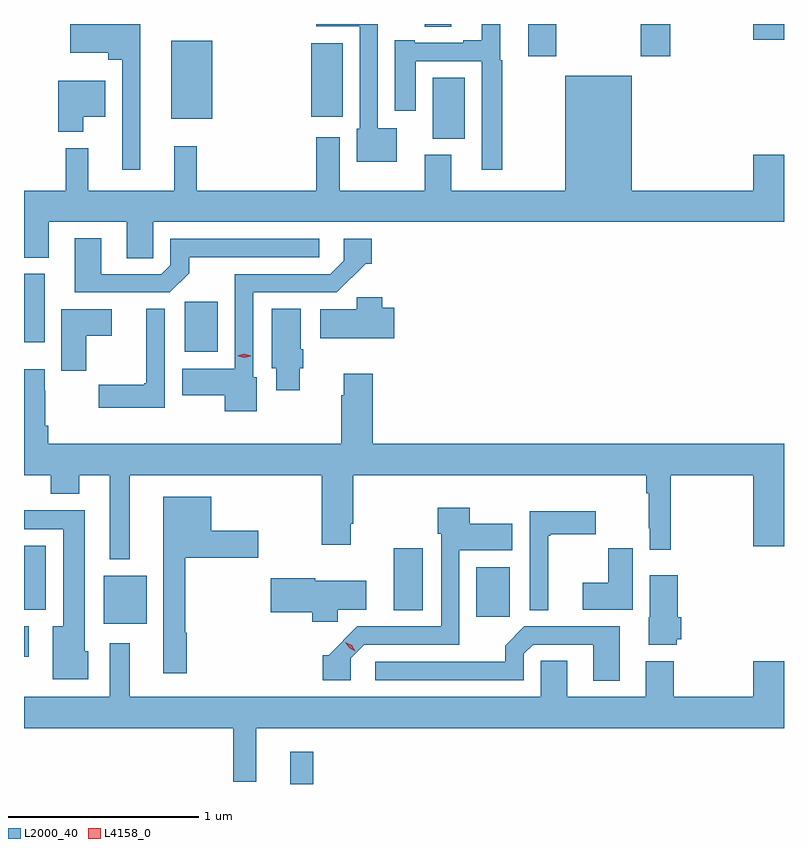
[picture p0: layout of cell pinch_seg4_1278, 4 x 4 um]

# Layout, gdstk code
import gdstk
lib = gdstk.Library(unit=1e-6, precision=1e-09)
def R(c, l, rs):  # rectangles x0, y0, x1, y1
    for r in rs: c.add(gdstk.rectangle(r[:2], r[2:], *l))
def P(c, l, *ps):  # polygons
    for p in ps: c.add(gdstk.Polygon(p, *l))
L2000_40 = (2000, 40)
L4158_0 = (4158, 0)

pinch_seg4_1278 = lib.new_cell('pinch_seg4_1278')
R(pinch_seg4_1278, L2000_40, [(366.365,773.882,366.487,774.052), (364.965,774.552,364.99,774.711), (365.384,774.725,365.611,774.979), (367.346,774.761,367.522,775.024), (366.911,774.796,367.063,775.123), (364.965,774.8,365.08,775.135), (365.81,776.156,365.986,776.42), (364.965,776.207,365.074,776.568), (367.115,777.278,367.285,777.598), (365.741,777.383,365.956,777.793), (366.476,777.395,366.643,777.781), (367.619,777.711,367.767,777.882), (368.212,777.711,368.367,777.882), (368.804,777.798,368.965,777.882), (367.073,777.868,367.213,777.882)])
P(pinch_seg4_1278, L2000_40, [(365.578,777.882),(365.208,777.882),(365.208,777.731),(365.408,777.731),(365.408,777.695),(365.481,777.695),(365.481,777.114),(365.578,777.114)],
  [(367.483,777.69),(367.471,777.69),(367.471,777.882),(367.373,777.882),(367.373,777.796),(367.277,777.796),(367.277,777.783),(367.021,777.783),(367.021,777.796),(366.917,777.796),(366.917,777.426),(367.027,777.426),(367.027,777.687),(367.374,777.687),(367.374,777.114),(367.483,777.114)],
  [(366.928,777.334),(366.828,777.334),(366.828,777.882),(366.504,777.882),(366.504,777.87),(366.732,777.87),(366.732,777.33),(366.716,777.33),(366.716,777.158),(366.928,777.158)],
  [(365.646,776.84),(368.965,776.84),(368.965,777.193),(368.804,777.193),(368.804,777.004),(368.164,777.004),(368.164,777.61),(367.814,777.61),(367.814,777.004),(367.213,777.004),(367.213,777.193),(367.073,777.193),(367.073,777.004),(366.628,777.004),(366.628,777.286),(366.503,777.286),(366.503,777.004),(365.873,777.004),(365.873,777.238),(365.756,777.238),(365.756,777.004),(365.303,777.004),(365.303,777.229),(365.185,777.229),(365.185,777.004),(364.965,777.004),(364.965,776.653),(365.095,776.653),(365.095,776.84),(365.507,776.84),(365.507,776.65),(365.646,776.65)],
  [(365.278,777.395),(365.392,777.395),(365.392,777.583),(365.144,777.583),(365.144,777.314),(365.278,777.314)],
  [(365.835,776.571),(365.835,776.655),(366.52,776.655),(366.52,776.751),(365.736,776.751),(365.736,776.613),(365.688,776.565),(365.371,776.565),(365.371,776.755),(365.231,776.755),(365.231,776.469),(365.733,776.469)],
  [(366.19,776.022),(366.171,776.022),(366.171,776.469),(366.612,776.469),(366.764,776.621),(366.796,776.621),(366.796,776.751),(366.648,776.751),(366.648,776.637),(366.576,776.565),(366.075,776.565),(366.075,776.068),(365.799,776.068),(365.799,775.928),(366.022,775.928),(366.022,775.844),(366.19,775.844)],
  [(366.913,776.388),(366.851,776.388),(366.851,776.445),(366.717,776.445),(366.717,776.38),(366.525,776.38),(366.525,776.228),(366.913,776.228)],
  [(366.415,776.07),(366.434,776.07),(366.434,776.17),(366.421,776.17),(366.421,776.384),(366.269,776.384),(366.269,776.07),(366.293,776.07),(366.293,775.955),(366.415,775.955)],
  [(365.706,776.384),(365.609,776.384),(365.609,775.992),(365.598,775.992),(365.598,775.984),(365.358,775.984),(365.358,775.862),(365.706,775.862)],
  [(365.292,776.24),(365.428,776.24),(365.428,776.38),(365.162,776.38),(365.162,776.058),(365.292,776.058)],
  [(366.647,775.928),(366.635,775.928),(366.635,775.672),(365.093,775.672),(365.093,775.768),(365.078,775.768),(365.078,775.952),(365.073,775.952),(365.073,776.065),(364.965,776.065),(364.965,775.508),(365.105,775.508),(365.105,775.409),(365.257,775.409),(365.257,775.508),(365.417,775.508),(365.417,775.064),(365.521,775.064),(365.521,775.508),(366.533,775.508),(366.533,775.14),(366.685,775.14),(366.685,775.252),(366.698,775.252),(366.698,775.508),(368.239,775.508),(368.239,775.412),(368.254,775.412),(368.254,775.228),(368.259,775.228),(368.259,775.116),(368.368,775.116),(368.368,775.508),(368.804,775.508),(368.804,775.134),(368.965,775.134),(368.965,775.672),(366.8,775.672),(366.8,776.041),(366.647,776.041)],
  [(365.821,774.677),(365.813,774.677),(365.813,775.073),(366.199,775.073),(366.199,775.215),(365.95,775.215),(365.95,775.393),(365.699,775.393),(365.699,774.465),(365.821,774.465)],
  [(366.684,774.543),(366.756,774.615),(367.257,774.615),(367.257,775.112),(367.534,775.112),(367.534,775.252),(367.311,775.252),(367.311,775.336),(367.142,775.336),(367.142,775.2),(367.161,775.2),(367.161,774.711),(366.72,774.711),(366.568,774.559),(366.537,774.559),(366.537,774.429),(366.684,774.429)],
  [(365.302,774.582),(365.284,774.582),(365.284,775.322),(364.965,775.322),(364.965,775.224),(365.171,775.224),(365.171,774.712),(365.117,774.712),(365.117,774.434),(365.302,774.434)],
  [(367.724,775.189),(367.735,775.189),(367.735,775.196),(367.975,775.196),(367.975,775.318),(367.626,775.318),(367.626,774.796),(367.724,774.796)],
  [(368.17,775.123),(368.041,775.123),(368.041,774.94),(367.905,774.94),(367.905,774.8),(368.17,774.8)],
  [(368.401,774.645),(368.423,774.645),(368.423,774.759),(368.405,774.759),(368.405,774.982),(368.258,774.982),(368.258,774.759),(368.252,774.759),(368.252,774.614),(368.401,774.614)],
  [(366.615,774.8),(366.766,774.8),(366.766,774.952),(366.498,774.952),(366.498,774.965),(366.264,774.965),(366.264,774.787),(366.482,774.787),(366.482,774.735),(366.615,774.735)],
  [(368.101,774.711),(367.599,774.711),(367.498,774.609),(367.498,774.525),(366.813,774.525),(366.813,774.429),(367.596,774.429),(367.596,774.567),(367.644,774.615),(367.961,774.615),(367.961,774.426),(368.101,774.426)],
  [(366.187,774.176),(368.965,774.176),(368.965,774.529),(368.804,774.529),(368.804,774.34),(368.385,774.34),(368.385,774.529),(368.237,774.529),(368.237,774.34),(367.825,774.34),(367.825,774.53),(367.686,774.53),(367.686,774.34),(365.521,774.34),(365.521,774.622),(365.417,774.622),(365.417,774.34),(364.965,774.34),(364.965,774.176),(366.066,774.176),(366.066,773.895),(366.187,773.895)])
P(pinch_seg4_1278, L4158_0, [(366.709,774.581),(366.676,774.598),(366.655,774.629),(366.655,774.629),(366.655,774.629),(366.689,774.613),(366.709,774.581),(366.709,774.581)],
  [(366.122,776.126),(366.087,776.137),(366.087,776.137),(366.087,776.137),(366.123,776.146),(366.159,776.135),(366.159,776.134),(366.159,776.134)])

lib.write_gds('pinch_seg4_1278.gds')
